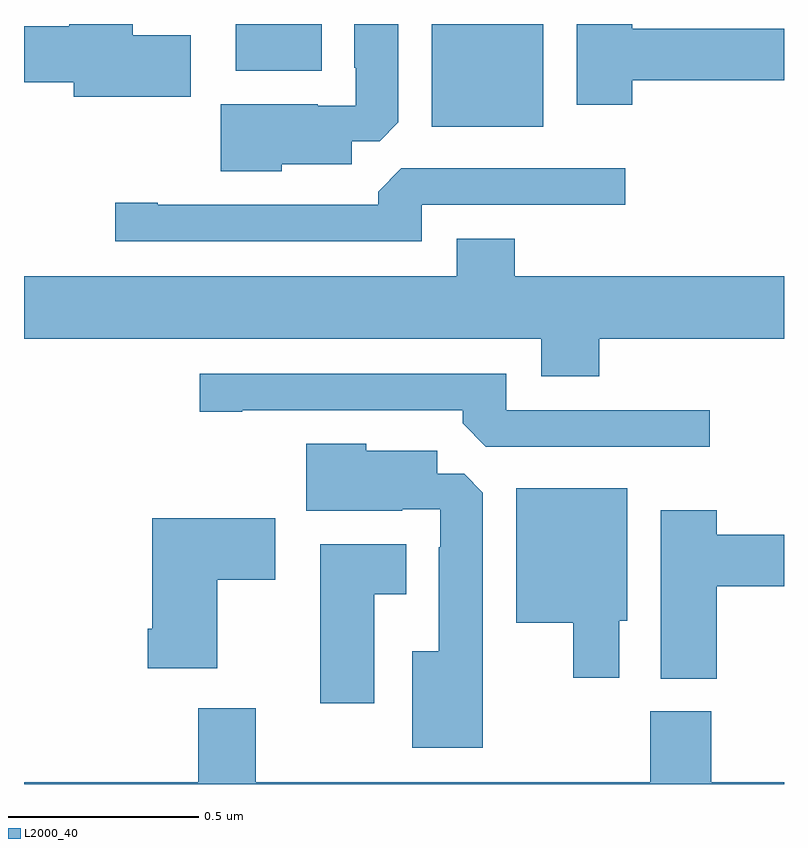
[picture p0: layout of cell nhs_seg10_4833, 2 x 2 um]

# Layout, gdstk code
import gdstk
lib = gdstk.Library(unit=1e-6, precision=1e-09)
def R(c, l, rs):  # rectangles x0, y0, x1, y1
    for r in rs: c.add(gdstk.rectangle(r[:2], r[2:], *l))
def P(c, l, *ps):  # polygons
    for p in ps: c.add(gdstk.Polygon(p, *l))
L2000_40 = (2000, 40)

nhs_seg10_4833 = lib.new_cell('nhs_seg10_4833')
R(nhs_seg10_4833, L2000_40, [(172.073,1278.23,172.366,1278.5), (171.557,1278.377,171.784,1278.5)])
P(nhs_seg10_4833, L2000_40, [(171.439,1278.471),(171.286,1278.471),(171.286,1278.5),(171.119,1278.5),(171.119,1278.494),(171,1278.494),(171,1278.347),(171.131,1278.347),(171.131,1278.308),(171.439,1278.308)],
  [(171.678,1278.131),(171.862,1278.131),(171.862,1278.192),(171.936,1278.192),(171.985,1278.241),(171.985,1278.5),(171.869,1278.5),(171.869,1278.385),(171.873,1278.385),(171.873,1278.285),(171.773,1278.285),(171.773,1278.289),(171.518,1278.289),(171.518,1278.113),(171.678,1278.113)],
  [(172.601,1278.352),(173,1278.352),(173,1278.488),(172.601,1278.488),(172.601,1278.5),(172.454,1278.5),(172.454,1278.288),(172.601,1278.288)],
  [(172.047,1278.024),(172.582,1278.024),(172.582,1278.12),(171.993,1278.12),(171.932,1278.058),(171.932,1278.024),(171.352,1278.024),(171.352,1278.029),(171.24,1278.029),(171.24,1277.928),(172.047,1277.928)],
  [(172.514,1277.672),(173,1277.672),(173,1277.836),(172.292,1277.836),(172.292,1277.935),(172.139,1277.935),(172.139,1277.836),(171,1277.836),(171,1277.672),(172.361,1277.672),(172.361,1277.573),(172.514,1277.573)],
  [(172.804,1277.484),(172.269,1277.484),(172.269,1277.58),(171.462,1277.58),(171.462,1277.479),(171.574,1277.479),(171.574,1277.484),(172.154,1277.484),(172.154,1277.45),(172.215,1277.388),(172.804,1277.388)],
  [(172.207,1277.267),(172.158,1277.316),(172.087,1277.316),(172.087,1277.377),(171.9,1277.377),(171.9,1277.395),(171.743,1277.395),(171.743,1277.219),(171.995,1277.219),(171.995,1277.223),(172.095,1277.223),(172.095,1277.123),(172.091,1277.123),(172.091,1276.849),(172.022,1276.849),(172.022,1276.595),(172.207,1276.595)],
  [(172.567,1276.929),(172.588,1276.929),(172.588,1277.278),(172.295,1277.278),(172.295,1276.925),(172.445,1276.925),(172.445,1276.779),(172.567,1276.779)],
  [(172.823,1277.02),(173,1277.02),(173,1277.156),(172.823,1277.156),(172.823,1277.221),(172.676,1277.221),(172.676,1276.777),(172.823,1276.777)],
  [(171.508,1277.038),(171.661,1277.038),(171.661,1277.2),(171.338,1277.2),(171.338,1276.909),(171.326,1276.909),(171.326,1276.805),(171.508,1276.805)],
  [(171.922,1277),(172.006,1277),(172.006,1277.131),(171.779,1277.131),(171.779,1276.713),(171.922,1276.713)],
  [(173,1276.504),(172.808,1276.504),(172.808,1276.692),(172.648,1276.692),(172.648,1276.504),(171.61,1276.504),(171.61,1276.699),(171.458,1276.699),(171.458,1276.504),(171,1276.504),(171,1276.5),(173,1276.5)])

lib.write_gds('nhs_seg10_4833.gds')
